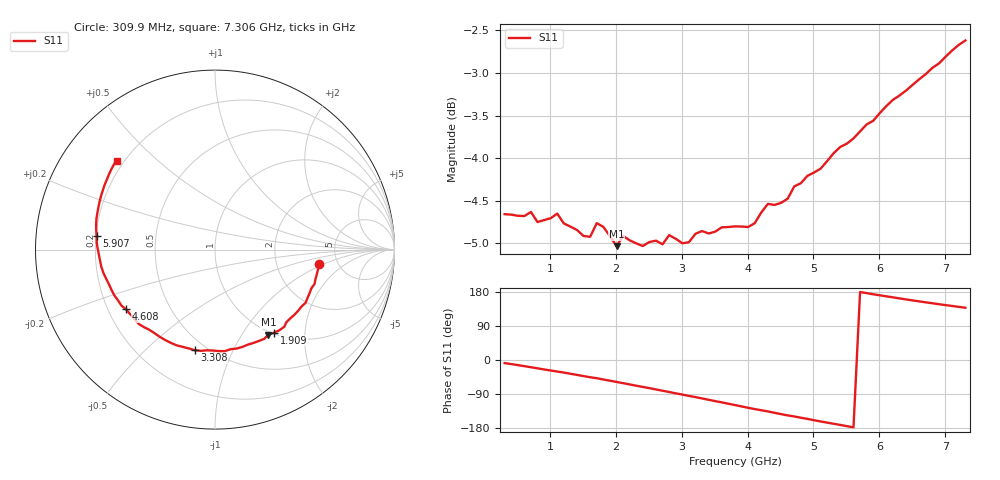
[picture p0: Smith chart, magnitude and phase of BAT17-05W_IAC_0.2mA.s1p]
! Infineon Technologies  Discrete & RF Semiconductors
! BAT17-05W
! IAC = 0.2 mA
! One-Port S-Parameters
# Hz  S  MA  R  50
!f  S11
!Hz  Mag  Ang
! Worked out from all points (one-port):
!   71 points, 309.9 MHz to 7.306 GHz, reference 50 ohm
!   lowest |S11| = -5.0 dB at 2.009 GHz (marker M1), VSWR 3.55, Z = 47.7 - j66 ohm
!   |S11| at or under -10 dB: nowhere
!   S11 on the Smith chart (normalised r, x): 309.9 MHz: 3.57, -0.90; 1.909 GHz: 1.02, -1.39; 3.308 GHz: 0.43, -0.72; 4.608 GHz: 0.27, -0.28; 5.907 GHz: 0.20, +0.06; 7.306 GHz: 0.17, +0.38
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3.0985e8  0.5849 -8.2
7.0965e8  0.5866 -19.1
8.096e8  0.5787 -21.9
1.10945e9  0.5853 -30.5
1.2094e9  0.5776 -33.1
1.6092e9  0.5673 -45.5
1.70915e9  0.5778 -48.0
1.90905e9  0.5678 -54.6
2.009e9  0.5601 -57.9
2.10895e9  0.5679 -61.1
2.4088e9  0.5602 -71.1
2.8086e9  0.5685 -84.4
3.0085e9  0.5623 -91.2
3.30835e9  0.5717 -101.5
3.6082e9  0.5746 -111.8
3.8081e9  0.5753 -118.9
4.10795e9  0.5778 -129.5
4.30785e9  0.5931 -135.7
4.6077e9  0.5972 -146.2
4.70765e9  0.6073 -149.0
4.90755e9  0.616 -155.4
5.30735e9  0.6352 -168.3
5.6072e9  0.648 -177.7
5.90705e9  0.6637 173.4
6.2069e9  0.6828 165.3
6.50675e9  0.6968 157.2
6.8066e9  0.713 149.7
7.30635e9  0.7398 137.9
